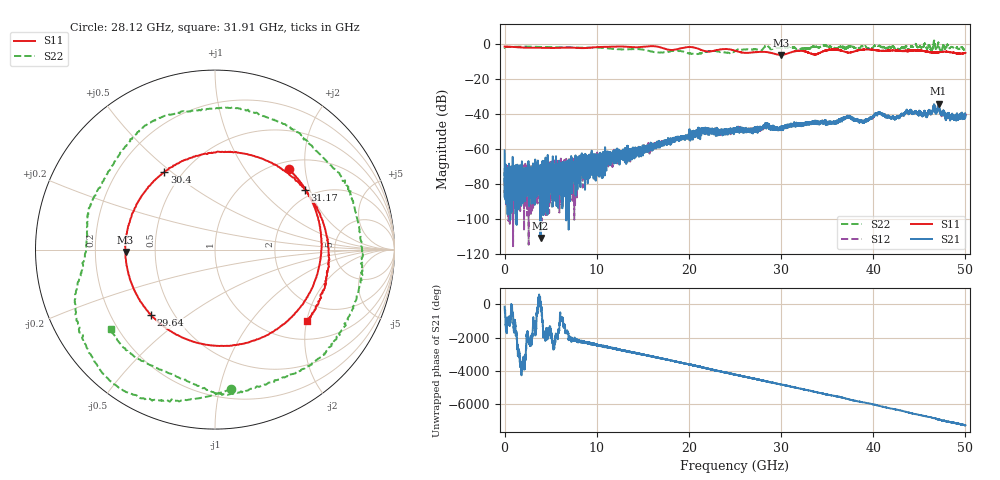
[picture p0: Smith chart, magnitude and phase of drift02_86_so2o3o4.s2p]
!Created with skrf (http://scikit-rf.org).
# Hz S RI R 50.0
!freq ReS11 ImS11 ReS21 ImS21 ReS12 ImS12 ReS22 ImS22
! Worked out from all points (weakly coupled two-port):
!   10001 points, 300 kHz to 50 GHz, reference 50 ohm
!   highest |S21| = -33.99 dB at 47.09 GHz (marker M1); lowest = -110.8 dB at 3.895 GHz (marker M2)
!   lowest |S11| = -6.0 dB at 29.96 GHz (marker M3), VSWR 2.99, Z = 16.7 - j0.608 ohm
!   |S11| at or under -10 dB: nowhere
!   |S22| runs from -5.7 to 2.2 dB; largest |S21 - S12| = 0.0035
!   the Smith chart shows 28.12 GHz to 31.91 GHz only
!   S11 on the Smith chart (normalised r, x): 28.12 GHz: 1.15, +1.63; 29.64 GHz: 0.38, -0.37; 30.4 GHz: 0.40, +0.47; 31.17 GHz: 1.77, +1.84; 31.91 GHz: 1.45, -2.00
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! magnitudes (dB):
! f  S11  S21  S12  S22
! 300 kHz  -1.3  -60.7  -70.9  -2.0
! 255.3 MHz  -1.4  -72.6  -83.5  -1.4
! 370.3 MHz  -1.4  -76.8  -79.6  -1.4
! 3.895 GHz  -2.0  -110.8  -80.0  -1.5
! 8.335 GHz  -2.2  -69.3  -66.3  -1.9
! 16.67 GHz  -1.4  -56.7  -58.4  -4.7
! 21.51 GHz  -3.5  -49.2  -49.5  -4.7
! 25 GHz  -3.7  -48.6  -49.1  -3.9
! 28.12 GHz  -4.3  -46.9  -46.7  -2.1
! 29.64 GHz  -5.9  -48.5  -47.9  -2.1
! 29.96 GHz  -6.0  -47.8  -48.3  -2.0
! 30.4 GHz  -5.7  -46.5  -46.7  -1.8
! 31.17 GHz  -4.4  -45.9  -46.8  -1.6
! 31.91 GHz  -3.8  -45.8  -46.2  -2.7
! 33.34 GHz  -5.5  -44.9  -44.9  -1.6
! 37.28 GHz  -4.7  -41.3  -41.0  -1.5
! 38.93 GHz  -3.0  -43.7  -43.8  -1.5
! 40.68 GHz  -3.7  -39.3  -39.2  -0.9
! 41.67 GHz  -3.7  -41.0  -40.8  -2.0
! 47.09 GHz  -4.5  -34.0  -35.0  0.9
! 48.55 GHz  -4.7  -40.3  -40.6  -1.5
! 50 GHz  -4.9  -40.9  -39.9  -2.7
